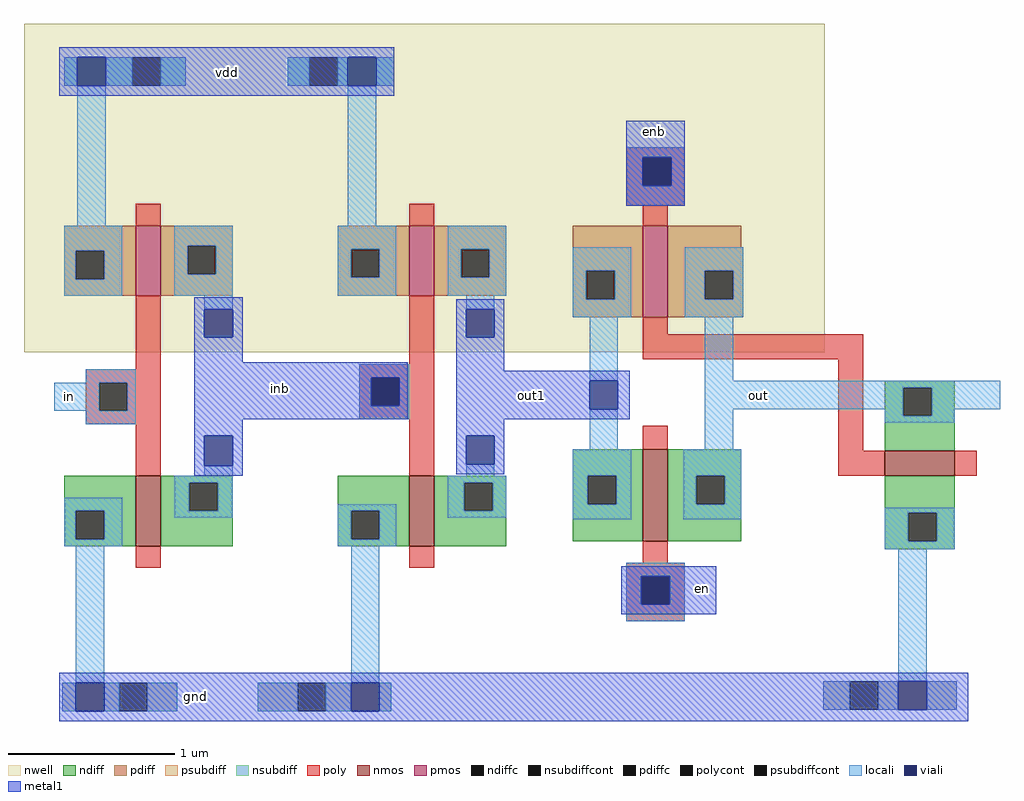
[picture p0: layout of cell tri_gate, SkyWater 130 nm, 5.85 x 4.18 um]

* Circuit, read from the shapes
.subckt tri_gate en enb gnd in inb out out1 vdd
XM1 inb in gnd gnd sky130_fd_pr__nfet_01v8 w=0.42 l=0.15
XM2 out1 inb gnd gnd sky130_fd_pr__nfet_01v8 w=0.42 l=0.15
XM3 out en out1 gnd sky130_fd_pr__nfet_01v8 w=0.55 l=0.15
XM4 out enb gnd gnd sky130_fd_pr__nfet_01v8 w=0.42 l=0.15
XM5 inb in vdd vdd sky130_fd_pr__pfet_01v8 w=0.42 l=0.15
XM6 out1 inb vdd vdd sky130_fd_pr__pfet_01v8 w=0.42 l=0.15
XM7 out enb out1 vdd sky130_fd_pr__pfet_01v8 w=0.55 l=0.15
.ends

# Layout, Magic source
magic
tech sky130A
<< nwell >>
rect 351 381 831 578
<< nmos >>
rect 418 265 433 307
rect 582 265 597 307
rect 722 268 737 323
rect 867 307 909 322
<< pmos >>
rect 418 415 433 457
rect 582 415 597 457
rect 722 402 737 457
<< ndiff >>
rect 680 307 722 323
rect 375 286 418 307
rect 375 269 382 286
rect 399 269 418 286
rect 375 265 418 269
rect 433 303 476 307
rect 433 286 450 303
rect 467 286 476 303
rect 433 265 476 286
rect 539 286 582 307
rect 539 269 547 286
rect 564 269 582 286
rect 539 265 582 269
rect 597 303 640 307
rect 597 286 615 303
rect 632 286 640 303
rect 597 265 640 286
rect 680 290 689 307
rect 706 290 722 307
rect 680 268 722 290
rect 737 307 781 323
rect 867 360 909 364
rect 867 343 878 360
rect 895 343 909 360
rect 867 322 909 343
rect 737 290 754 307
rect 771 290 781 307
rect 737 268 781 290
rect 867 285 909 307
rect 867 268 881 285
rect 898 268 909 285
rect 867 263 909 268
<< pdiff >>
rect 375 442 418 457
rect 375 425 382 442
rect 399 425 418 442
rect 375 415 418 425
rect 433 445 476 457
rect 433 428 449 445
rect 466 428 476 445
rect 433 415 476 428
rect 539 443 582 457
rect 539 426 547 443
rect 564 426 582 443
rect 539 415 582 426
rect 597 443 640 457
rect 597 426 613 443
rect 630 426 640 443
rect 597 415 640 426
rect 680 430 722 457
rect 680 413 688 430
rect 705 413 722 430
rect 680 402 722 413
rect 737 444 781 457
rect 737 430 782 444
rect 737 413 759 430
rect 776 413 782 430
rect 737 402 782 413
<< ndiffc >>
rect 382 269 399 286
rect 450 286 467 303
rect 547 269 564 286
rect 615 286 632 303
rect 689 290 706 307
rect 878 343 895 360
rect 754 290 771 307
rect 881 268 898 285
<< pdiffc >>
rect 382 425 399 442
rect 449 428 466 445
rect 547 426 564 443
rect 613 426 630 443
rect 688 413 705 430
rect 759 413 776 430
<< psubdiff >>
rect 374 166 408 183
rect 425 166 443 183
rect 491 166 515 183
rect 532 166 571 183
rect 830 167 846 184
rect 863 167 910 184
<< nsubdiff >>
rect 375 541 416 558
rect 433 541 448 558
rect 509 541 522 558
rect 539 541 573 558
<< psubdiffcont >>
rect 408 166 425 183
rect 515 166 532 183
rect 846 167 863 184
<< nsubdiffcont >>
rect 416 541 433 558
rect 522 541 539 558
<< poly >>
rect 712 498 747 504
rect 712 481 722 498
rect 739 481 747 498
rect 418 457 433 470
rect 582 457 597 470
rect 712 469 747 481
rect 722 457 737 469
rect 418 371 433 415
rect 582 374 597 415
rect 722 392 737 402
rect 722 377 854 392
rect 388 363 433 371
rect 388 346 396 363
rect 413 346 433 363
rect 388 338 433 346
rect 552 366 597 374
rect 552 349 559 366
rect 576 349 597 366
rect 552 341 597 349
rect 418 307 433 338
rect 582 307 597 341
rect 722 323 737 337
rect 839 322 854 377
rect 839 307 867 322
rect 909 307 922 322
rect 418 252 433 265
rect 582 252 597 265
rect 722 255 737 268
rect 712 247 747 255
rect 712 230 721 247
rect 738 230 747 247
rect 712 220 747 230
<< polycont >>
rect 722 481 739 498
rect 396 346 413 363
rect 559 349 576 366
rect 721 230 738 247
<< locali >>
rect 375 541 383 558
rect 400 541 416 558
rect 433 541 448 558
rect 509 541 522 558
rect 539 541 545 558
rect 562 541 573 558
rect 383 457 400 541
rect 545 457 562 541
rect 712 498 747 504
rect 712 481 722 498
rect 739 481 747 498
rect 712 469 747 481
rect 375 442 410 457
rect 375 425 382 442
rect 399 425 410 442
rect 375 415 410 425
rect 441 445 476 457
rect 441 428 449 445
rect 466 428 476 445
rect 441 415 476 428
rect 539 443 574 457
rect 539 426 547 443
rect 564 426 574 443
rect 539 415 574 426
rect 605 443 640 457
rect 605 426 613 443
rect 630 426 640 443
rect 605 415 640 426
rect 680 430 715 444
rect 459 407 476 415
rect 616 407 633 415
rect 680 413 688 430
rect 705 413 715 430
rect 680 402 715 413
rect 747 430 782 444
rect 747 413 759 430
rect 776 413 782 430
rect 747 402 782 413
rect 388 363 418 371
rect 369 346 396 363
rect 413 346 418 363
rect 388 338 418 346
rect 552 366 582 374
rect 552 349 559 366
rect 576 349 582 366
rect 552 341 582 349
rect 690 364 707 402
rect 459 307 476 313
rect 690 323 707 347
rect 759 364 776 402
rect 759 360 936 364
rect 759 347 878 360
rect 759 323 776 347
rect 867 343 878 347
rect 895 347 936 360
rect 895 343 909 347
rect 867 339 909 343
rect 616 307 633 314
rect 680 307 715 323
rect 441 303 476 307
rect 375 286 410 294
rect 375 269 382 286
rect 399 269 410 286
rect 441 286 450 303
rect 467 286 476 303
rect 605 303 640 307
rect 441 282 476 286
rect 539 286 574 290
rect 375 265 410 269
rect 539 269 547 286
rect 564 269 574 286
rect 605 286 615 303
rect 632 286 640 303
rect 605 282 640 286
rect 680 290 689 307
rect 706 290 715 307
rect 680 281 715 290
rect 746 307 781 323
rect 746 290 754 307
rect 771 290 781 307
rect 746 281 781 290
rect 867 285 909 288
rect 539 265 574 269
rect 867 268 881 285
rect 898 268 909 285
rect 382 183 399 265
rect 547 183 564 265
rect 867 263 909 268
rect 712 247 747 255
rect 712 230 721 247
rect 738 230 747 247
rect 712 220 747 230
rect 875 184 892 263
rect 374 166 382 183
rect 399 166 408 183
rect 425 166 443 183
rect 491 166 515 183
rect 532 166 547 183
rect 564 166 571 183
rect 830 167 846 184
rect 863 167 875 184
rect 892 167 910 184
<< viali >>
rect 383 541 400 558
rect 545 541 562 558
rect 722 481 739 498
rect 459 390 476 407
rect 616 390 633 407
rect 559 349 576 366
rect 690 347 707 364
rect 459 313 476 331
rect 616 314 633 331
rect 721 230 738 247
rect 382 166 399 183
rect 547 166 564 183
rect 875 167 892 184
<< metal1 >>
rect 372 558 573 564
rect 372 541 383 558
rect 400 541 545 558
rect 562 541 573 558
rect 372 535 573 541
rect 712 498 747 520
rect 712 481 722 498
rect 739 481 747 498
rect 712 469 747 481
rect 453 407 482 414
rect 453 390 459 407
rect 476 390 482 407
rect 453 375 482 390
rect 610 407 639 413
rect 610 390 616 407
rect 633 390 639 407
rect 453 366 581 375
rect 453 349 559 366
rect 576 349 581 366
rect 453 341 581 349
rect 610 370 639 390
rect 610 364 714 370
rect 610 347 690 364
rect 707 347 714 364
rect 610 341 714 347
rect 453 331 482 341
rect 453 313 459 331
rect 476 313 482 331
rect 453 307 482 313
rect 610 331 639 341
rect 610 314 616 331
rect 633 314 639 331
rect 610 308 639 314
rect 709 247 766 253
rect 709 230 721 247
rect 738 230 766 247
rect 709 224 766 230
rect 372 184 917 189
rect 372 183 875 184
rect 372 166 382 183
rect 399 166 547 183
rect 564 167 875 183
rect 892 167 917 184
rect 564 166 917 167
rect 372 160 917 166
<< labels >>
flabel locali 369 347 387 362 0 FreeSans 152 0 0 0 in
flabel locali 774 348 808 363 0 FreeSans 152 0 0 0 out
flabel metal1 432 167 475 182 0 FreeSans 152 0 0 0 gnd
flabel metal1 496 351 513 368 0 FreeSans 120 0 0 0 inb
flabel metal1 644 349 666 362 0 FreeSans 120 0 0 0 out1
flabel metal1 459 541 487 557 0 FreeSans 152 0 0 0 vdd
flabel metal1 749 231 766 248 0 FreeSans 120 0 0 0 en
flabel metal1 721 509 737 518 0 FreeSans 120 0 0 0 enb
<< end >>
